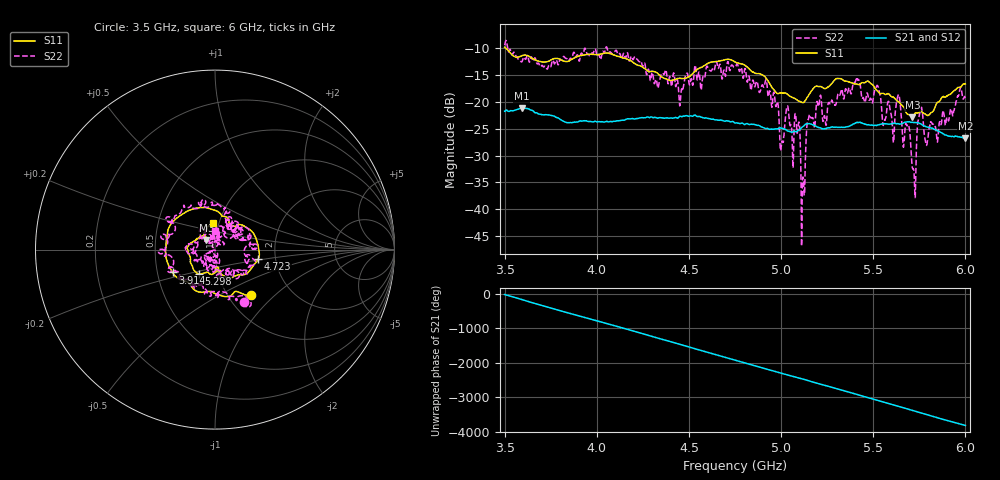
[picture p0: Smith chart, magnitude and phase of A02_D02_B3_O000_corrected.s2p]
! Created with skrf 1.9.0 (http://scikit-rf.org).
# Hz S RI R 50.0
!freq ReS11 ImS11 ReS21 ImS21 ReS12 ImS12 ReS22 ImS22
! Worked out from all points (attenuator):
!   1601 points, 3.5 GHz to 6 GHz, reference 50 ohm
!   highest |S21| = -21.19 dB at 3.592 GHz (marker M1); lowest = -26.8 dB at 6 GHz (marker M2)
!   lowest |S11| = -22.9 dB at 5.713 GHz (marker M3), VSWR 1.16, Z = 45.1 + j4.84 ohm
!   |S11| at or under -10 dB: 3.505 GHz to end of sweep
!   |S22| runs from -46.9 to -8.6 dB; largest |S21 - S12| = 0.0011
!   S11 on the Smith chart (normalised r, x): 3.5 GHz: 1.27, -0.72; 3.914 GHz: 0.60, -0.16; 4.723 GHz: 1.63, -0.17; 5.298 GHz: 0.81, -0.23; 6 GHz: 0.93, +0.28
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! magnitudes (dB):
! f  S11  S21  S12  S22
! 3.5 GHz  -9.9  -21.8  -21.7  -9.5
! 3.592 GHz  -11.5  -21.2  -21.2  -12.6
! 3.914 GHz  -11.4  -23.6  -23.5  -11.1
! 3.917 GHz  -11.4  -23.6  -23.6  -10.9
! 4.334 GHz  -14.9  -23.0  -22.9  -17.2
! 4.723 GHz  -12.2  -23.7  -23.6  -14.2
! 4.75 GHz  -12.6  -24.0  -23.9  -13.5
! 4.97 GHz  -18.2  -25.0  -25.0  -20.7
! 5.003 GHz  -18.4  -24.9  -24.9  -27.8
! 5.031 GHz  -18.5  -25.3  -25.2  -21.0
! 5.088 GHz  -19.7  -25.5  -25.4  -25.9
! 5.119 GHz  -20.1  -24.6  -24.5  -34.0
! 5.145 GHz  -19.0  -24.1  -24.0  -23.4
! 5.167 GHz  -17.9  -24.2  -24.1  -23.0
! 5.298 GHz  -15.7  -24.7  -24.6  -20.4
! 5.414 GHz  -16.7  -23.9  -23.8  -15.7
! 5.584 GHz  -18.5  -24.2  -24.1  -20.0
! 5.638 GHz  -20.0  -24.1  -24.0  -18.7
! 5.713 GHz  -22.9  -23.8  -23.7  -32.3
! 5.755 GHz  -21.8  -24.1  -24.0  -21.7
! 5.789 GHz  -22.4  -24.7  -24.6  -28.1
! 6 GHz  -16.7  -26.8  -26.7  -19.5
